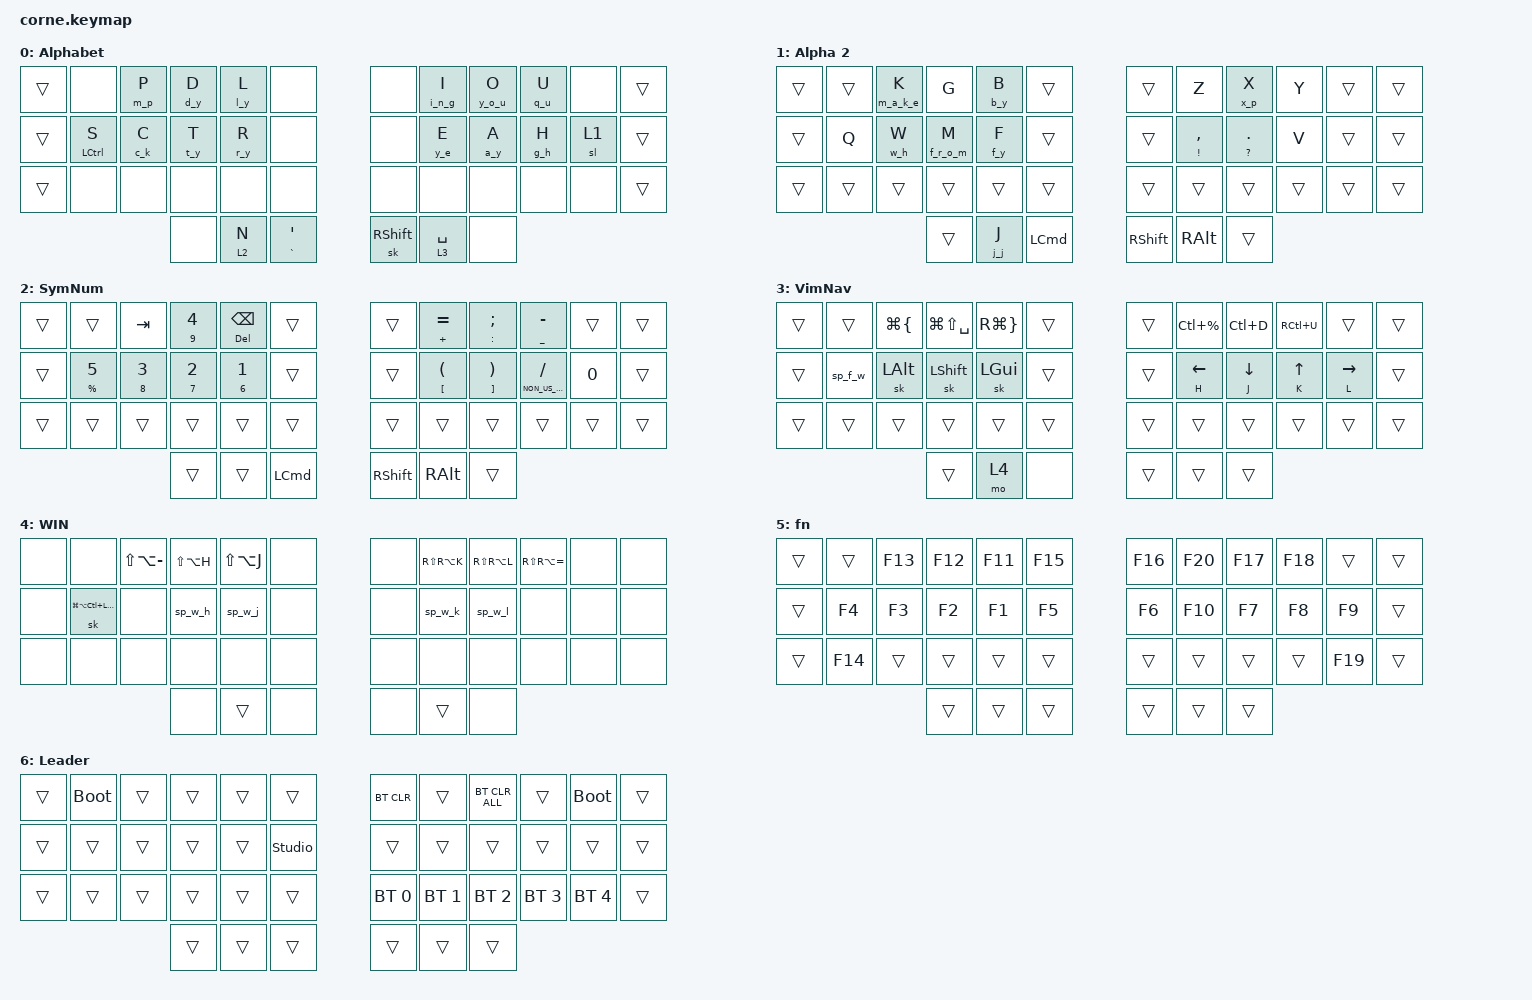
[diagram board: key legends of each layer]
#include <behaviors.dtsi>
#include <dt-bindings/zmk/bt.h>
#include <dt-bindings/zmk/keys.h>

#define DEF 0
#define NAV 1
#define SYM 2
#define ADJ 3
#define EXTRA 4

/ {
    behaviors {
        htr: hold_tap_right {
            compatible = "zmk,behavior-hold-tap";
            label = "HOLD_TAP_RIGHT";
            #binding-cells = <2>;
            tapping-term-ms = <350>;
            quick_tap_ms = <0>;
            flavor = "balanced";
            bindings = <&kp>, <&kp>;

            quick-tap-ms = <175>;
            global-quick-tap;
            require-prior-idle-ms = <1000>;
            hold-trigger-on-release;
            hold-trigger-key-positions = <1 13 25 26 14 2 3 15 27 28 16 4 5 17 29>;
        };

        ht: hold_tap {
            compatible = "zmk,behavior-hold-tap";
            label = "HOLD_TAP";
            #binding-cells = <2>;
            tapping-term-ms = <280>;
            quick_tap_ms = <0>;
            flavor = "tap-preferred";
            bindings = <&kp>, <&kp>;

            quick-tap-ms = <175>;
            global-quick-tap;
            require-prior-idle-ms = <150>;
            hold-trigger-on-release;
        };

        htrs: hold_tap_right_short {
            compatible = "zmk,behavior-hold-tap";
            label = "HOLD_TAP_RIGHT_SHORT";
            #binding-cells = <2>;
            tapping-term-ms = <500>;
            quick_tap_ms = <0>;
            flavor = "balanced";
            bindings = <&kp>, <&kp>;

            quick-tap-ms = <135>;
            global-quick-tap;
            require-prior-idle-ms = <1000>;
            hold-trigger-on-release;
            hold-trigger-key-positions = <1 13 25 26 14 2 3 15 27 28 16 4 5 17 29>;
        };

        ht_qu: ht_qu {
            compatible = "zmk,behavior-hold-tap";
            label = "HT_QU";
            #binding-cells = <2>;
            tapping-term-ms = <280>;
            quick_tap_ms = <0>;
            flavor = "tap-preferred";
            bindings = <&q_u>, <&kp>;

            quick-tap-ms = <175>;
            global-quick-tap;
            require-prior-idle-ms = <0>;
            hold-trigger-on-release;
        };

        ht_ck: ht_ck {
            compatible = "zmk,behavior-hold-tap";
            label = "HT_CK";
            #binding-cells = <2>;
            tapping-term-ms = <200>;
            quick_tap_ms = <0>;
            flavor = "tap-preferred";
            bindings = <&c_k>, <&kp>;

            quick-tap-ms = <175>;
            global-quick-tap;
            require-prior-idle-ms = <0>;
            hold-trigger-on-release;
        };

        ht_npi: holdtap_noprioridle {
            compatible = "zmk,behavior-hold-tap";
            label = "HT_NPI";
            #binding-cells = <2>;
            tapping-term-ms = <200>;
            quick_tap_ms = <0>;
            flavor = "tap-preferred";
            bindings = <&kp>, <&kp>;

            quick-tap-ms = <175>;
            global-quick-tap;
            require-prior-idle-ms = <0>;
            hold-trigger-on-release;
        };

        ht_ing: ht_ing {
            compatible = "zmk,behavior-hold-tap";
            label = "HT_ING";
            #binding-cells = <2>;
            tapping-term-ms = <200>;
            quick_tap_ms = <0>;
            flavor = "tap-preferred";
            bindings = <&i_n_g>, <&kp>;

            quick-tap-ms = <175>;
            global-quick-tap;
            require-prior-idle-ms = <0>;
            hold-trigger-on-release;
        };

        ht_make: ht_make {
            compatible = "zmk,behavior-hold-tap";
            label = "HT_MAKE";
            #binding-cells = <2>;
            tapping-term-ms = <200>;
            quick_tap_ms = <0>;
            flavor = "tap-preferred";
            bindings = <&m_a_k_e>, <&kp>;

            quick-tap-ms = <175>;
            global-quick-tap;
            require-prior-idle-ms = <0>;
            hold-trigger-on-release;
        };

        ht_mp: ht_mp {
            compatible = "zmk,behavior-hold-tap";
            label = "HT_MP";
            #binding-cells = <2>;
            tapping-term-ms = <200>;
            quick_tap_ms = <0>;
            flavor = "tap-preferred";
            bindings = <&m_p>, <&kp>;

            quick-tap-ms = <175>;
            global-quick-tap;
            require-prior-idle-ms = <0>;
            hold-trigger-on-release;
        };

        ht_dy: ht_dy {
            compatible = "zmk,behavior-hold-tap";
            label = "HT_DY";
            #binding-cells = <2>;
            tapping-term-ms = <200>;
            quick_tap_ms = <0>;
            flavor = "tap-preferred";
            bindings = <&d_y>, <&kp>;

            quick-tap-ms = <175>;
            global-quick-tap;
            require-prior-idle-ms = <0>;
            hold-trigger-on-release;
        };

        ht_ly: ht_ly {
            compatible = "zmk,behavior-hold-tap";
            label = "HT_LY";
            #binding-cells = <2>;
            tapping-term-ms = <200>;
            quick_tap_ms = <0>;
            flavor = "tap-preferred";
            bindings = <&l_y>, <&kp>;

            quick-tap-ms = <175>;
            global-quick-tap;
            require-prior-idle-ms = <0>;
            hold-trigger-on-release;
        };

        ht_ty: ht_ty {
            compatible = "zmk,behavior-hold-tap";
            label = "HT_TY";
            #binding-cells = <2>;
            tapping-term-ms = <200>;
            quick_tap_ms = <0>;
            flavor = "tap-preferred";
            bindings = <&t_y>, <&kp>;

            quick-tap-ms = <175>;
            global-quick-tap;
            require-prior-idle-ms = <0>;
            hold-trigger-on-release;
        };

        ht_ry: ht_ry {
            compatible = "zmk,behavior-hold-tap";
            label = "HT_RY";
            #binding-cells = <2>;
            tapping-term-ms = <200>;
            quick_tap_ms = <0>;
            flavor = "tap-preferred";
            bindings = <&r_y>, <&kp>;

            quick-tap-ms = <175>;
            global-quick-tap;
            require-prior-idle-ms = <0>;
            hold-trigger-on-release;
        };

        ht_you: ht_you {
            compatible = "zmk,behavior-hold-tap";
            label = "HT_YOU";
            #binding-cells = <2>;
            tapping-term-ms = <200>;
            quick_tap_ms = <0>;
            flavor = "tap-preferred";
            bindings = <&y_o_u>, <&kp>;

            quick-tap-ms = <175>;
            global-quick-tap;
            require-prior-idle-ms = <0>;
            hold-trigger-on-release;
        };

        ht_ye: ht_ye {
            compatible = "zmk,behavior-hold-tap";
            label = "HT_YE";
            #binding-cells = <2>;
            tapping-term-ms = <200>;
            quick_tap_ms = <0>;
            flavor = "tap-preferred";
            bindings = <&y_e>, <&kp>;

            quick-tap-ms = <175>;
            global-quick-tap;
            require-prior-idle-ms = <0>;
            hold-trigger-on-release;
        };

        ht_ay: ht_ay {
            compatible = "zmk,behavior-hold-tap";
            label = "HT_AY";
            #binding-cells = <2>;
            tapping-term-ms = <200>;
            quick_tap_ms = <0>;
            flavor = "tap-preferred";
            bindings = <&a_y>, <&kp>;

            quick-tap-ms = <175>;
            global-quick-tap;
            require-prior-idle-ms = <0>;
            hold-trigger-on-release;
        };

        ht_gh: ht_gh {
            compatible = "zmk,behavior-hold-tap";
            label = "HT_GH";
            #binding-cells = <2>;
            tapping-term-ms = <200>;
            quick_tap_ms = <0>;
            flavor = "tap-preferred";
            bindings = <&g_h>, <&kp>;

            quick-tap-ms = <175>;
            global-quick-tap;
            require-prior-idle-ms = <0>;
            hold-trigger-on-release;
        };

        ht_my: ht_my {
            compatible = "zmk,behavior-hold-tap";
            label = "HT_MY";
            #binding-cells = <2>;
            tapping-term-ms = <200>;
            quick_tap_ms = <0>;
            flavor = "tap-preferred";
            bindings = <&m_y>, <&kp>;

            quick-tap-ms = <175>;
            global-quick-tap;
            require-prior-idle-ms = <0>;
            hold-trigger-on-release;
        };

        ht_xp: ht_xp {
            compatible = "zmk,behavior-hold-tap";
            label = "HT_XP";
            #binding-cells = <2>;
            tapping-term-ms = <200>;
            quick_tap_ms = <0>;
            flavor = "tap-preferred";
            bindings = <&x_p>, <&kp>;

            quick-tap-ms = <175>;
            global-quick-tap;
            require-prior-idle-ms = <0>;
            hold-trigger-on-release;
        };

        ht_by: ht_by {
            compatible = "zmk,behavior-hold-tap";
            label = "HT_BY";
            #binding-cells = <2>;
            tapping-term-ms = <200>;
            quick_tap_ms = <0>;
            flavor = "tap-preferred";
            bindings = <&b_y>, <&kp>;

            quick-tap-ms = <175>;
            global-quick-tap;
            require-prior-idle-ms = <0>;
            hold-trigger-on-release;
        };

        ht_fy: ht_fy {
            compatible = "zmk,behavior-hold-tap";
            label = "HT_FY";
            #binding-cells = <2>;
            tapping-term-ms = <200>;
            quick_tap_ms = <0>;
            flavor = "tap-preferred";
            bindings = <&f_y>, <&kp>;

            quick-tap-ms = <175>;
            global-quick-tap;
            require-prior-idle-ms = <0>;
            hold-trigger-on-release;
        };

        ht_wh: ht_wh {
            compatible = "zmk,behavior-hold-tap";
            label = "HT_WH";
            #binding-cells = <2>;
            tapping-term-ms = <200>;
            quick_tap_ms = <0>;
            flavor = "tap-preferred";
            bindings = <&w_h>, <&kp>;

            quick-tap-ms = <175>;
            global-quick-tap;
            require-prior-idle-ms = <0>;
            hold-trigger-on-release;
        };

        ht_jj: ht_jj {
            compatible = "zmk,behavior-hold-tap";
            label = "HT_JJ";
            #binding-cells = <2>;
            tapping-term-ms = <200>;
            quick_tap_ms = <0>;
            flavor = "tap-preferred";
            bindings = <&j_j>, <&kp>;

            quick-tap-ms = <175>;
            global-quick-tap;
            require-prior-idle-ms = <0>;
            hold-trigger-on-release;
        };

        ht_from: ht_from {
            compatible = "zmk,behavior-hold-tap";
            label = "HT_FROM";
            #binding-cells = <2>;
            tapping-term-ms = <200>;
            quick_tap_ms = <0>;
            flavor = "tap-preferred";
            bindings = <&f_r_o_m>, <&kp>;

            quick-tap-ms = <175>;
            global-quick-tap;
            require-prior-idle-ms = <0>;
            hold-trigger-on-release;
        };
    };

    combos {
        compatible = "zmk,combos";

        SYS_LAYER {
            bindings = <&mo 6>;
            key-positions = <38 37 36>;
            timeout-ms = <200>;
            require-prior-idle-ms = <500>;
            layers = <0>;
        };

        caps_word {
            bindings = <&caps_word>;
            key-positions = <17 18>;
            require-prior-idle-ms = <1000>;
        };

        esc {
            bindings = <&kp ESC>;
            key-positions = <4 2>;
            timeout-ms = <50>;
            require-prior-idle-ms = <150>;
        };

        ret {
            bindings = <&kp RET>;
            key-positions = <7 9>;
            timeout-ms = <50>;
            require-prior-idle-ms = <150>;
        };

        bksp {
            bindings = <&kp BACKSPACE>;
            key-positions = <19 20>;
            timeout-ms = <50>;
            require-prior-idle-ms = <150>;
        };

        oy {
            bindings = <&o_y>;
            key-positions = <9 8>;
            timeout-ms = <50>;
            require-prior-idle-ms = <150>;
        };

        ey {
            bindings = <&e_y>;
            key-positions = <19 9>;
            timeout-ms = <50>;
            require-prior-idle-ms = <150>;
        };
    };

    //

    macros {
        q_u: q_u {
            compatible = "zmk,behavior-macro";
            #binding-cells = <0>;
            bindings = <&kp Q &kp U>;
            label = "Q_U";
            wait-ms = <5>;
        };

        c_k: c_k {
            compatible = "zmk,behavior-macro";
            #binding-cells = <0>;
            bindings = <&kp C &kp K>;
            label = "C_K";
        };

        j_j: j_j {
            compatible = "zmk,behavior-macro";
            #binding-cells = <0>;
            bindings = <&kp J &kp J>;
            label = "J_J";
        };

        i_n_g: i_n_g {
            compatible = "zmk,behavior-macro";
            #binding-cells = <0>;
            bindings = <&kp I &kp N &kp G>;
            label = "I_N_G";
        };

        sp_w_h: sp_w_h {
            compatible = "zmk,behavior-macro";
            #binding-cells = <0>;
            bindings = <&kp SPACE &kp W &kp H>;
            label = "SP_W_H";
            wait-ms = <15>;
            tap-ms = <15>;
        };

        sp_w_k: sp_w_k {
            compatible = "zmk,behavior-macro";
            #binding-cells = <0>;
            bindings = <&kp SPACE &kp W &kp K>;
            label = "SP_W_K";
            wait-ms = <15>;
            tap-ms = <15>;
        };

        sp_w_l: sp_w_l {
            compatible = "zmk,behavior-macro";
            #binding-cells = <0>;
            bindings = <&kp SPACE &kp W &kp L>;
            label = "SP_W_L";
            wait-ms = <15>;
            tap-ms = <15>;
        };

        sp_w_j: sp_w_j {
            compatible = "zmk,behavior-macro";
            #binding-cells = <0>;
            bindings = <&kp SPACE &kp W &kp J>;
            label = "SP_W_J";
            wait-ms = <15>;
            tap-ms = <15>;
        };

        m_p: m_p {
            compatible = "zmk,behavior-macro";
            #binding-cells = <0>;
            bindings = <&kp M &kp P>;
            label = "M_P";
        };

        d_y: d_y {
            compatible = "zmk,behavior-macro";
            #binding-cells = <0>;
            bindings = <&kp D &kp Y>;
            label = "D_Y";
        };

        l_y: l_y {
            compatible = "zmk,behavior-macro";
            #binding-cells = <0>;
            bindings = <&kp L &kp Y>;
            label = "L_Y";
        };

        t_y: t_y {
            compatible = "zmk,behavior-macro";
            #binding-cells = <0>;
            bindings = <&kp T &kp Y>;
            label = "T_Y";
        };

        r_y: r_y {
            compatible = "zmk,behavior-macro";
            #binding-cells = <0>;
            bindings = <&kp R &kp Y>;
            label = "R_Y";
        };

        y_o_u: y_o_u {
            compatible = "zmk,behavior-macro";
            #binding-cells = <0>;
            bindings = <&kp Y &kp O &kp U>;
            label = "Y_O_U";
        };

        f_y: f_y {
            compatible = "zmk,behavior-macro";
            #binding-cells = <0>;
            bindings = <&kp F &kp Y>;
            label = "F_Y";
        };

        a_y: a_y {
            compatible = "zmk,behavior-macro";
            #binding-cells = <0>;
            bindings = <&kp A &kp Y>;
            label = "A_Y";
        };

        y_e: y_e {
            compatible = "zmk,behavior-macro";
            #binding-cells = <0>;
            bindings = <&kp Y &kp E>;
            label = "Y_E";
        };

        g_h: g_h {
            compatible = "zmk,behavior-macro";
            #binding-cells = <0>;
            bindings = <&kp G &kp H>;
            label = "G_H";
        };

        b_y: b_y {
            compatible = "zmk,behavior-macro";
            #binding-cells = <0>;
            bindings = <&kp B &kp Y>;
            label = "B_Y";
        };

        m_a_k_e: m_a_k_e {
            compatible = "zmk,behavior-macro";
            #binding-cells = <0>;
            bindings = <&kp M &kp A &kp K &kp E>;
            label = "M_A_K_E";
        };

        x_p: x_p {
            compatible = "zmk,behavior-macro";
            #binding-cells = <0>;
            bindings = <&kp X &kp P>;
            label = "X_P";
        };

        m_y: m_y {
            compatible = "zmk,behavior-macro";
            #binding-cells = <0>;
            bindings = <&kp M &kp Y>;
            label = "M_Y";
        };

        w_h: w_h {
            compatible = "zmk,behavior-macro";
            #binding-cells = <0>;
            bindings = <&kp W &kp H>;
            label = "W_H";
        };

        sp_f_w: sp_f_w {
            compatible = "zmk,behavior-macro";
            #binding-cells = <0>;
            bindings = <&kp SPACE &kp F &kp G>;
            label = "SP_F_W";
            wait-ms = <15>;
            tap-ms = <15>;
        };

        f_r_o_m: f_r_o_m {
            compatible = "zmk,behavior-macro";
            #binding-cells = <0>;
            bindings = <&kp F &kp R &kp O &kp M>;
            label = "F_R_O_M";
        };

        o_y: o_y {
            compatible = "zmk,behavior-macro";
            #binding-cells = <0>;
            bindings = <&kp O &kp Y>;
            label = "O_Y";
        };

        e_y: e_y {
            compatible = "zmk,behavior-macro";
            #binding-cells = <0>;
            bindings = <&kp E &kp Y>;
            label = "E_Y";
        };
    };

    keymap {
        compatible = "zmk,keymap";

        ALPHA {
            display-name = "Alphabet";

            // -----------------------------------------------------------------------------------------
            // |  Q  |  W  |  E  |  R  |  T  |   |  Y  |  U   |  I  |  O  |  P  |
            // |  A  |  S  |  D  |  F  |  G  |   |  H  |  J   |  K  |  L  |  ;  |
            // |  Z  |  X  |  C  |  V  |  B  |   |  N  |  M   |  ,  |  .  |  /  |
            // | GUI | CTRL | SHFT | LWR | SPC |   | ENT | RSE  | BKSP | ALT | ESC |

            bindings = <
&trans  &none        &ht_mp 0 P  &ht_dy 0 D  &ht_ly 0 L  &none                &none            &ht_ing 0 I  &ht_you 0 O  &ht_qu 0 U  &none  &trans
&trans  &ht LCTRL S  &ht_ck 0 C  &ht_ty 0 T  &ht_ry 0 R  &none                &none            &ht_ye 0 E   &ht_ay 0 A   &ht_gh 0 H  &sl 1  &trans
&trans  &none        &none       &none       &none       &none                &none            &none        &none        &none       &none  &trans
                                 &none       &lt 2 N     &ht_npi GRAVE SQT    &sk RIGHT_SHIFT  &lt 3 SPACE  &none
            >;

            label = "Alphabet";
        };

        ALPHA2 {
            bindings = <
&trans  &trans  &ht_make 0 K  &kp G         &ht_by 0 B  &trans      &trans     &kp Z                      &ht_xp 0 X               &kp Y   &trans  &trans
&trans  &kp Q   &ht_wh 0 W    &ht_from 0 M  &ht_fy 0 F  &trans      &trans     &ht_npi EXCLAMATION COMMA  &ht_npi QUESTION PERIOD  &kp V   &trans  &trans
&trans  &trans  &trans        &trans        &trans      &trans      &trans     &trans                     &trans                   &trans  &trans  &trans
                              &trans        &ht_jj 0 J  &kp LCMD    &kp RSHFT  &kp RALT                   &trans
            >;

            label = "Alpha 2";
        };

        SYMNUM {
            display-name = "SymNum";

            // -----------------------------------------------------------------------------------------
            // |  TAB |  1  |  2  |  3  |  4  |  5  |   |  6  |  7  |  8  |  9  |  0  | BKSP |
            // | BTCLR| BT1 | BT2 | BT3 | BT4 | BT5 |   | LFT | DWN |  UP | RGT |     |      |
            // | SHFT |     |     |     |     |     |   |     |     |     |     |     |      |
            // | GUI | CTRL | SHFT | LWR | SPC |   | ENT | RSE  | BKSP | ALT | ESC |

            bindings = <
&trans  &trans                &kp TAB          &ht NUMBER_9 NUMBER_4  &ht_npi DEL BACKSPACE  &trans      &trans           &ht PLUS EQUAL                         &ht_npi COLON SEMICOLON                  &ht UNDERSCORE MINUS            &trans  &trans
&trans  &ht PERCENT NUMBER_5  &ht N8 NUMBER_3  &ht N7 NUMBER_2        &ht NUMBER_6 NUMBER_1  &trans      &trans           &ht_npi LEFT_BRACKET LEFT_PARENTHESIS  &ht_npi RIGHT_BRACKET RIGHT_PARENTHESIS  &ht_npi NON_US_BACKSLASH SLASH  &kp N0  &trans
&trans  &trans                &trans           &trans                 &trans                 &trans      &trans           &trans                                 &trans                                   &trans                          &trans  &trans
                                               &trans                 &trans                 &kp LCMD    &kp RIGHT_SHIFT  &kp RIGHT_ALT                          &trans
            >;

            label = "SymNum";
        };

        VIMNAV {
            display-name = "VimNav";

            // -----------------------------------------------------------------------------------------
            // |  TAB |  !  |  @  |  #  |  $  |  %  |   |  ^  |  &  |  *  |  (  |  )  | BKSP |
            // | CTRL |     |     |     |     |     |   |  -  |  =  |  [  |  ]  |  \  |  `   |
            // | SHFT |     |     |     |     |     |   |  _  |  +  |  {  |  }  | "|" |  ~   |
            //                    | GUI |     | SPC |   | ENT |     | ALT |

            bindings = <
&trans  &trans   &kp LG(LEFT_BRACE)  &kp LG(LS(SPACE))  &kp RG(RIGHT_BRACE)  &trans    &trans  &kp LC(PERCENT)       &kp LC(D)             &kp RC(U)           &trans           &trans
&trans  &sp_f_w  &sk LEFT_ALT        &sk LEFT_SHIFT     &sk LEFT_GUI         &trans    &trans  &ht_npi H LEFT_ARROW  &ht_npi J DOWN_ARROW  &ht_npi K UP_ARROW  &ht_npi L RIGHT  &trans
&trans  &trans   &trans              &trans             &trans               &trans    &trans  &trans                &trans                &trans              &trans           &trans
                                     &trans             &mo 4                &none     &trans  &trans                &trans
            >;

            label = "VimNav";
        };

        Window {
            bindings = <
&none  &none                       &kp LS(LA(MINUS))  &kp LS(LA(H))  &kp LS(LA(J))  &none    &none  &kp RS(RA(K))  &kp RS(RA(L))  &kp RS(RA(EQUAL))  &none  &none
&none  &sk LG(LA(LC(LEFT_SHIFT)))  &none              &sp_w_h        &sp_w_j        &none    &none  &sp_w_k        &sp_w_l        &none              &none  &none
&none  &none                       &none              &none          &none          &none    &none  &none          &none          &none              &none  &none
                                                      &none          &trans         &none    &none  &trans         &none
            >;

            label = "WIN";
        };

        Fn {
            bindings = <
&trans  &trans   &kp F13  &kp F12  &kp F11  &kp F15    &kp F16  &kp F20  &kp F17  &kp F18  &trans   &trans
&trans  &kp F4   &kp F3   &kp F2   &kp F1   &kp F5     &kp F6   &kp F10  &kp F7   &kp F8   &kp F9   &trans
&trans  &kp F14  &trans   &trans   &trans   &trans     &trans   &trans   &trans   &trans   &kp F19  &trans
                          &trans   &trans   &trans     &trans   &trans   &trans
            >;

            label = "fn";
        };

        SYSTEM {
            display-name = "Leader";
            bindings = <
&trans  &bootloader  &trans  &trans  &trans  &trans            &bt BT_CLR    &trans        &bt BT_CLR_ALL  &trans        &bootloader   &trans
&trans  &trans       &trans  &trans  &trans  &studio_unlock    &trans        &trans        &trans          &trans        &trans        &trans
&trans  &trans       &trans  &trans  &trans  &trans            &bt BT_SEL 0  &bt BT_SEL 1  &bt BT_SEL 2    &bt BT_SEL 3  &bt BT_SEL 4  &trans
                             &trans  &trans  &trans            &trans        &trans        &trans
            >;

            label = "System";
        };
    };

    conditional_layers { compatible = "zmk,conditional-layers"; };
};
